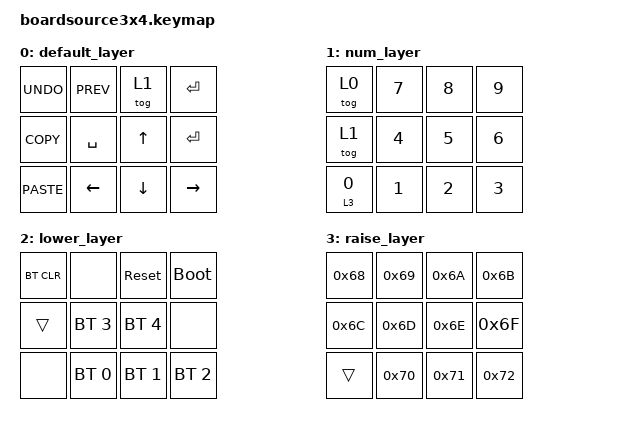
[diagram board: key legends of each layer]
/*
 * Copyright (c) 2020 The ZMK Contributors
 *
 * SPDX-License-Identifier: MIT
 */

#include <behaviors.dtsi>
#include <dt-bindings/zmk/bt.h>
#include <dt-bindings/zmk/keys.h>

/ {
    keymap {
        compatible = "zmk,keymap";

        default_layer {
            bindings = <
&kp K_UNDO   &kp C_PREV  &tog 1    &kp ENTER
&kp K_COPY   &kp SPACE   &kp UP    &kp ENTER
&kp K_PASTE  &kp LEFT    &kp DOWN  &kp RIGHT
            >;
        };

        num_layer {
            bindings = <
&tog 0    &kp N7  &kp N8  &kp N9
&tog 1    &kp N4  &kp N5  &kp N6
&lt 3 N0  &kp N1  &kp N2  &kp N3
            >;
        };

        lower_layer {
            bindings = <
&bt BT_CLR  &none         &sys_reset    &bootloader
&trans      &bt BT_SEL 3  &bt BT_SEL 4  &none
&none       &bt BT_SEL 0  &bt BT_SEL 1  &bt BT_SEL 2
            >;
        };

        raise_layer {
            bindings = <
&kp 0x68  &kp 0x69  &kp 0x6A  &kp 0x6B
&kp 0x6C  &kp 0x6D  &kp 0x6E  &kp 0x6F
&trans    &kp 0x70  &kp 0x71  &kp 0x72
            >;
        };
    };
};
